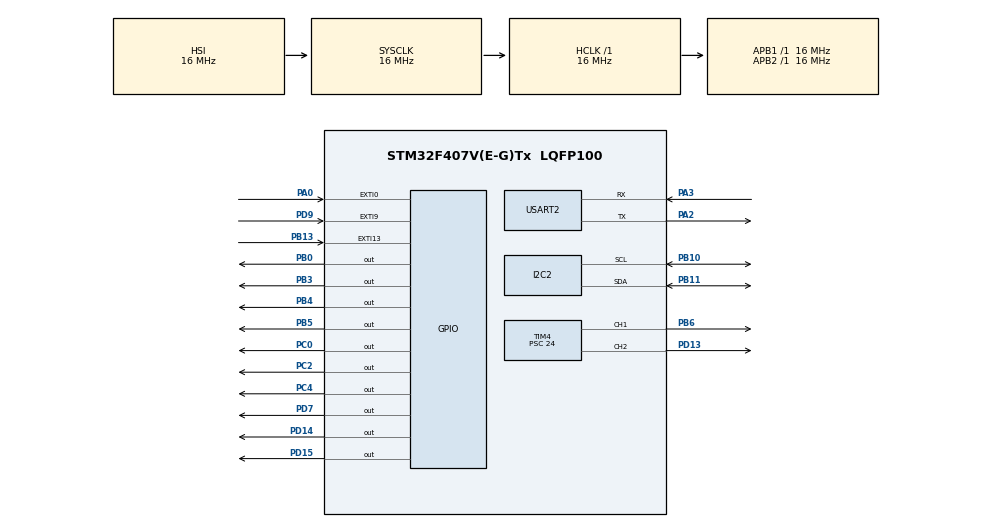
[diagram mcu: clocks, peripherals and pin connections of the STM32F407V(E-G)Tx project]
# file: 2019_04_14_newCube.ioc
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Mcu.Family=STM32F4
Mcu.Name=STM32F407V(E-G)Tx
Mcu.Package=LQFP100
NVIC.EXTI0_IRQn=true\:0\:0\:false\:false\:true\:true
NVIC.EXTI15_10_IRQn=true\:0\:0\:false\:false\:true\:true
NVIC.EXTI9_5_IRQn=true\:0\:0\:false\:false\:true\:true
NVIC.I2C2_ER_IRQn=true\:0\:0\:false\:false\:true\:true
NVIC.I2C2_EV_IRQn=true\:0\:0\:false\:false\:true\:true
NVIC.PriorityGroup=NVIC_PRIORITYGROUP_4
NVIC.TIM3_IRQn=true\:0\:0\:false\:false\:true\:true
NVIC.TIM4_IRQn=true\:0\:0\:false\:false\:true\:true
NVIC.USART2_IRQn=true\:0\:0\:false\:false\:true\:true
PA0-WKUP.Signal=GPXTI0
PA2.Mode=Asynchronous
PA2.Signal=USART2_TX
PA3.Mode=Asynchronous
PA3.Signal=USART2_RX
PB0.Signal=GPIO_Output
PB10.Mode=I2C
PB10.Signal=I2C2_SCL
PB11.Mode=I2C
PB11.Signal=I2C2_SDA
PB13.GPIO_ModeDefaultEXTI=GPIO_MODE_IT_RISING
PB13.GPIO_PuPd=GPIO_PULLDOWN
PB13.Signal=GPXTI13
PB3.Signal=GPIO_Output
PB4.Signal=GPIO_Output
PB5.Signal=GPIO_Output
PB6.Signal=S_TIM4_CH1
PC0.Signal=GPIO_Output
PC2.Signal=GPIO_Output
PC4.Signal=GPIO_Output
PD13.Signal=S_TIM4_CH2
PD14.Signal=GPIO_Output
PD15.GPIO_PuPd=GPIO_PULLDOWN
PD15.Signal=GPIO_Output
PD7.Signal=GPIO_Output
PD9.GPIO_ModeDefaultEXTI=GPIO_MODE_IT_RISING
PD9.GPIO_PuPd=GPIO_PULLDOWN
PD9.Signal=GPXTI9
ProjectManager.HeapSize=0x200
ProjectManager.StackSize=0x400
ProjectManager.TargetToolchain=TrueSTUDIO
RCC.48MHZClocksFreq_Value=48000000
RCC.AHBFreq_Value=16000000
RCC.APB1Freq_Value=16000000
RCC.APB1TimFreq_Value=16000000
RCC.APB2Freq_Value=16000000
RCC.APB2TimFreq_Value=16000000
RCC.CortexFreq_Value=16000000
RCC.HCLKFreq_Value=16000000
RCC.HSE_VALUE=25000000
RCC.HSI_VALUE=16000000
RCC.LSE_VALUE=32768
RCC.SYSCLKFreq_VALUE=16000000
RCC.VCOOutputFreq_Value=192000000
SH.S_TIM4_CH1.0=TIM4_CH1,PWM Generation1 CH1
SH.S_TIM4_CH2.0=TIM4_CH2,Output Compare2 CH2
TIM3.Channel-Output\ Compare1\ No\ Output=TIM_CHANNEL_1
TIM3.Period=1000
TIM3.Prescaler=16000
TIM4.Channel-Output\ Compare2\ CH2=TIM_CHANNEL_2
TIM4.Channel-PWM\ Generation1\ CH1=TIM_CHANNEL_1
TIM4.Period=200
TIM4.Prescaler=24
TIM4.Pulse-PWM\ Generation1\ CH1=0
TIM4.TIM_MasterOutputTrigger=TIM_TRGO_RESET
USART2.VirtualMode=VM_ASYNC
VP_TIM3_VS_ClockSourceINT.Mode=Internal
VP_TIM3_VS_no_output1.Mode=Output Compare1 No Output
VP_TIM4_VS_ClockSourceINT.Mode=Internal
board=custom

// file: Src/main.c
/* USER CODE BEGIN Header */
/**
 ******************************************************************************
 * @file           : main.c
 * @brief          : Main program body
 ******************************************************************************
 ** This notice applies to any and all portions of this file
 * that are not between comment pairs USER CODE BEGIN and
 * USER CODE END. Other portions of this file, whether
 * inserted by the user or by software development tools
 * are owned by their respective copyright owners.
 *
 * COPYRIGHT(c) 2019 STMicroelectronics
 *
 * Redistribution and use in source and binary forms, with or without modification,
 * are permitted provided that the following conditions are met:
 *   1. Redistributions of source code must retain the above copyright notice,
 *      this list of conditions and the following disclaimer.
 *   2. Redistributions in binary form must reproduce the above copyright notice,
 *      this list of conditions and the following disclaimer in the documentation
 *      and/or other materials provided with the distribution.
 *   3. Neither the name of STMicroelectronics nor the names of its contributors
 *      may be used to endorse or promote products derived from this software
 *      without specific prior written permission.
 *
 * THIS SOFTWARE IS PROVIDED BY THE COPYRIGHT HOLDERS AND CONTRIBUTORS "AS IS"
 * AND ANY EXPRESS OR IMPLIED WARRANTIES, INCLUDING, BUT NOT LIMITED TO, THE
 * IMPLIED WARRANTIES OF MERCHANTABILITY AND FITNESS FOR A PARTICULAR PURPOSE ARE
 * DISCLAIMED. IN NO EVENT SHALL THE COPYRIGHT HOLDER OR CONTRIBUTORS BE LIABLE
 * FOR ANY DIRECT, INDIRECT, INCIDENTAL, SPECIAL, EXEMPLARY, OR CONSEQUENTIAL
 * DAMAGES (INCLUDING, BUT NOT LIMITED TO, PROCUREMENT OF SUBSTITUTE GOODS OR
 * SERVICES; LOSS OF USE, DATA, OR PROFITS; OR BUSINESS INTERRUPTION) HOWEVER
 * CAUSED AND ON ANY THEORY OF LIABILITY, WHETHER IN CONTRACT, STRICT LIABILITY,
 * OR TORT (INCLUDING NEGLIGENCE OR OTHERWISE) ARISING IN ANY WAY OUT OF THE USE
 * OF THIS SOFTWARE, EVEN IF ADVISED OF THE POSSIBILITY OF SUCH DAMAGE.
 *
 ******************************************************************************
 */
/* USER CODE END Header */

#include "main.h"

/* USER CODE BEGIN Includes */
#include <math.h>
#include <stdlib.h>
#include <string.h>

/* USER CODE END Includes */

I2C_HandleTypeDef hi2c2;

TIM_HandleTypeDef htim3;
TIM_HandleTypeDef htim4;

UART_HandleTypeDef huart2;

/* USER CODE BEGIN PV */
#define FALSE 0
#define TRUE 1

/* USER CODE END PV */

void SystemClock_Config(void);
static void MX_GPIO_Init(void);
static void MX_TIM4_Init(void);
static void MX_TIM3_Init(void);
static void MX_USART2_UART_Init(void);
static void MX_I2C2_Init(void);
/* USER CODE BEGIN PFP */
void triangle_wave(int freq, int min, int max);
void sin_wave(int A, float F);
void const_vel(int A, int F);
void HAL_UART_RxCpltCallback(UART_HandleTypeDef *huart);

/* USER CODE END PFP */

/* USER CODE BEGIN 0 */
double const clock = 16000000;
double const htim3_Prescaler = 1600;
int const htim3_Period = 9;
double const htim4_Prescaler = 1;
int const htim4_Period = 200;
int const pulsosporRevolucion = 5000;
int const mmporRevolucion = 10;

int estado = 0;
int posActual = 0;
int posMax = 0;
int posHome = 0;
int posCentral = 0;
int maxIndex = 0;
float velHoming = 100;

volatile int velocidades[10000];
volatile int velocidadesPulsos[10000];
//volatile int posiciones[1000];
//volatile int posicionesPulsos[1000];
//volatile int posicionesActPulsos[15000];
volatile int periodos[10000];
// variables para comunicacion UART2
uint8_t rx_index_UART2;
_Bool OK_UART2;

uint8_t rx_data_UART[13];
uint8_t rx_buffer_UART2[50];
char bufferTX_UART2[20];
uint8_t bufferRX_UART2[50];
/* USER CODE END 0 */

int main(void) {
	/* USER CODE BEGIN 1 */
	OK_UART2 = FALSE;

	rx_index_UART2 = 0;
	/* USER CODE END 1 */

	/* MCU Configuration--------------------------------------------------------*/

	/* Reset of all peripherals, Initializes the Flash interface and the Systick. */
	HAL_Init();

	/* Configure the system clock */
	SystemClock_Config();

	/* Initialize all configured peripherals */
	MX_GPIO_Init();
	MX_TIM4_Init();
	MX_TIM3_Init();
	MX_USART2_UART_Init();
	MX_I2C2_Init();
	/* USER CODE BEGIN 2 */
	HAL_TIM_Base_Start_IT(&htim3);
	HAL_TIM_PWM_Start_IT(&htim4, TIM_CHANNEL_1);

	char buffer[16];
	char txbuffer[10];
	HAL_UART_Transmit(&huart2, "OK ", 3, 200);
	char in[1] = { 'N' };
	int counter = 0;
	int position = 0;
	int maxposition;
	HAL_GPIO_WritePin(GPIOB, GPIO_PIN_0, GPIO_PIN_SET);
	HAL_GPIO_WritePin(GPIOC, GPIO_PIN_4, GPIO_PIN_SET);
	TIM4->ARR = 200;       //desborde de tiempo de pwm en timer 4.
	__HAL_TIM_SetCompare(&htim4,TIM_CHANNEL_1,100); //match de comparación en timer 4, siempre tiene que ser la mitad de ARR.
	HAL_UART_Receive_IT(&huart2, rx_data_UART, 13); // leer 1 byte

	// estado=2; //forzado
	/* USER CODE END 2 */

	/* Infinite loop */
	/* USER CODE BEGIN WHILE */
	while (1) {
		HAL_UART_Receive_IT(&huart2, rx_data_UART, 13);
		//estado=2; para debug comunicación-desarrollo. Saltea homming y fines de carrera.

		if ((estado == 3 || estado == 4 || estado == 5)
				&& ((HAL_GPIO_ReadPin(GPIOD, GPIO_PIN_9) == GPIO_PIN_SET)
						|| (HAL_GPIO_ReadPin(GPIOB, GPIO_PIN_13) == GPIO_PIN_SET))) {
			estado = 0;
			HAL_TIM_PWM_Stop_IT(&htim4, TIM_CHANNEL_1);
		}

		/* USER CODE END WHILE */

	}
}

void SystemClock_Config(void) {
	RCC_OscInitTypeDef RCC_OscInitStruct = { 0 };
	RCC_ClkInitTypeDef RCC_ClkInitStruct = { 0 };

	/**Configure the main internal regulator output voltage
	 */
	__HAL_RCC_PWR_CLK_ENABLE()
	;
	__HAL_PWR_VOLTAGESCALING_CONFIG(PWR_REGULATOR_VOLTAGE_SCALE1);
	/**Initializes the CPU, AHB and APB busses clocks
	 */
	RCC_OscInitStruct.OscillatorType = RCC_OSCILLATORTYPE_HSI;
	RCC_OscInitStruct.HSIState = RCC_HSI_ON;
	RCC_OscInitStruct.HSICalibrationValue = RCC_HSICALIBRATION_DEFAULT;
	RCC_OscInitStruct.PLL.PLLState = RCC_PLL_NONE;
	if (HAL_RCC_OscConfig(&RCC_OscInitStruct) != HAL_OK) {
		Error_Handler();
	}
	/**Initializes the CPU, AHB and APB busses clocks
	 */
	RCC_ClkInitStruct.ClockType = RCC_CLOCKTYPE_HCLK | RCC_CLOCKTYPE_SYSCLK
			| RCC_CLOCKTYPE_PCLK1 | RCC_CLOCKTYPE_PCLK2;
	RCC_ClkInitStruct.SYSCLKSource = RCC_SYSCLKSOURCE_HSI;
	RCC_ClkInitStruct.AHBCLKDivider = RCC_SYSCLK_DIV1;
	RCC_ClkInitStruct.APB1CLKDivider = RCC_HCLK_DIV1;
	RCC_ClkInitStruct.APB2CLKDivider = RCC_HCLK_DIV1;

	if (HAL_RCC_ClockConfig(&RCC_ClkInitStruct, FLASH_LATENCY_0) != HAL_OK) {
		Error_Handler();
	}
}

static void MX_I2C2_Init(void) {

	hi2c2.Instance = I2C2;
	hi2c2.Init.ClockSpeed = 100000;
	hi2c2.Init.DutyCycle = I2C_DUTYCYCLE_2;
	hi2c2.Init.OwnAddress1 = 0;
	hi2c2.Init.AddressingMode = I2C_ADDRESSINGMODE_7BIT;
	hi2c2.Init.DualAddressMode = I2C_DUALADDRESS_DISABLE;
	hi2c2.Init.OwnAddress2 = 0;
	hi2c2.Init.GeneralCallMode = I2C_GENERALCALL_DISABLE;
	hi2c2.Init.NoStretchMode = I2C_NOSTRETCH_DISABLE;
	if (HAL_I2C_Init(&hi2c2) != HAL_OK) {
		Error_Handler();
	}

}

static void MX_TIM3_Init(void) {

	TIM_ClockConfigTypeDef sClockSourceConfig = { 0 };
	TIM_MasterConfigTypeDef sMasterConfig = { 0 };
	TIM_OC_InitTypeDef sConfigOC = { 0 };

	htim3.Instance = TIM3;
	htim3.Init.Prescaler = htim3_Prescaler;
	htim3.Init.CounterMode = TIM_COUNTERMODE_UP;
	htim3.Init.Period = htim3_Period;
	htim3.Init.ClockDivision = TIM_CLOCKDIVISION_DIV1;
	if (HAL_TIM_Base_Init(&htim3) != HAL_OK) {
		Error_Handler();
	}
	sClockSourceConfig.ClockSource = TIM_CLOCKSOURCE_INTERNAL;
	if (HAL_TIM_ConfigClockSource(&htim3, &sClockSourceConfig) != HAL_OK) {
		Error_Handler();
	}
	if (HAL_TIM_OC_Init(&htim3) != HAL_OK) {
		Error_Handler();
	}
	sMasterConfig.MasterOutputTrigger = TIM_TRGO_RESET;
	sMasterConfig.MasterSlaveMode = TIM_MASTERSLAVEMODE_DISABLE;
	if (HAL_TIMEx_MasterConfigSynchronization(&htim3, &sMasterConfig)
			!= HAL_OK) {
		Error_Handler();
	}
	sConfigOC.OCMode = TIM_OCMODE_TIMING;
	sConfigOC.Pulse = 0;
	sConfigOC.OCPolarity = TIM_OCPOLARITY_HIGH;
	sConfigOC.OCFastMode = TIM_OCFAST_DISABLE;
	if (HAL_TIM_OC_ConfigChannel(&htim3, &sConfigOC, TIM_CHANNEL_1) != HAL_OK) {
		Error_Handler();
	}

}

static void MX_TIM4_Init(void) {

	TIM_ClockConfigTypeDef sClockSourceConfig = { 0 };
	TIM_MasterConfigTypeDef sMasterConfig = { 0 };
	TIM_OC_InitTypeDef sConfigOC = { 0 };

	htim4.Instance = TIM4;
	htim4.Init.Prescaler = htim4_Prescaler;
	htim4.Init.CounterMode = TIM_COUNTERMODE_UP;
	htim4.Init.Period = htim4_Period;
	htim4.Init.ClockDivision = TIM_CLOCKDIVISION_DIV1;
	if (HAL_TIM_Base_Init(&htim4) != HAL_OK) {
		Error_Handler();
	}
	sClockSourceConfig.ClockSource = TIM_CLOCKSOURCE_INTERNAL;
	if (HAL_TIM_ConfigClockSource(&htim4, &sClockSourceConfig) != HAL_OK) {
		Error_Handler();
	}
	if (HAL_TIM_PWM_Init(&htim4) != HAL_OK) {
		Error_Handler();
	}
	if (HAL_TIM_OC_Init(&htim4) != HAL_OK) {
		Error_Handler();
	}
	sMasterConfig.MasterOutputTrigger = TIM_TRGO_RESET;
	sMasterConfig.MasterSlaveMode = TIM_MASTERSLAVEMODE_DISABLE;
	if (HAL_TIMEx_MasterConfigSynchronization(&htim4, &sMasterConfig)
			!= HAL_OK) {
		Error_Handler();
	}
	sConfigOC.OCMode = TIM_OCMODE_PWM1;
	sConfigOC.Pulse = 0;
	sConfigOC.OCPolarity = TIM_OCPOLARITY_HIGH;
	sConfigOC.OCFastMode = TIM_OCFAST_DISABLE;
	if (HAL_TIM_PWM_ConfigChannel(&htim4, &sConfigOC, TIM_CHANNEL_1)
			!= HAL_OK) {
		Error_Handler();
	}
	sConfigOC.OCMode = TIM_OCMODE_TIMING;
	if (HAL_TIM_OC_ConfigChannel(&htim4, &sConfigOC, TIM_CHANNEL_2) != HAL_OK) {
		Error_Handler();
	}
	/* USER CODE BEGIN TIM4_Init 2 */
	TIM4->ARR = 10000;
	__HAL_TIM_SetCompare(&htim4,TIM_CHANNEL_1,5000);
	/* USER CODE END TIM4_Init 2 */
	HAL_TIM_MspPostInit(&htim4);

}

static void MX_USART2_UART_Init(void) {

	huart2.Instance = USART2;
	huart2.Init.BaudRate = 115200;
	huart2.Init.WordLength = UART_WORDLENGTH_8B;
	huart2.Init.StopBits = UART_STOPBITS_1;
	huart2.Init.Parity = UART_PARITY_NONE;
	huart2.Init.Mode = UART_MODE_TX_RX;
	huart2.Init.HwFlowCtl = UART_HWCONTROL_NONE;
	huart2.Init.OverSampling = UART_OVERSAMPLING_16;
	if (HAL_UART_Init(&huart2) != HAL_OK) {
		Error_Handler();
	}

}

static void MX_GPIO_Init(void) {
	GPIO_InitTypeDef GPIO_InitStruct = { 0 };

	/* GPIO Ports Clock Enable */
	__HAL_RCC_GPIOC_CLK_ENABLE()
	;
	__HAL_RCC_GPIOA_CLK_ENABLE()
	;
	__HAL_RCC_GPIOB_CLK_ENABLE()
	;
	__HAL_RCC_GPIOD_CLK_ENABLE()
	;

	/*Configure GPIO pin Output Level */
	HAL_GPIO_WritePin(GPIOC, GPIO_PIN_0 | GPIO_PIN_2 | GPIO_PIN_4,
			GPIO_PIN_RESET);

	/*Configure GPIO pin Output Level */
	HAL_GPIO_WritePin(GPIOB, GPIO_PIN_0 | GPIO_PIN_3 | GPIO_PIN_4 | GPIO_PIN_5,
			GPIO_PIN_RESET);

	/*Configure GPIO pin Output Level */
	HAL_GPIO_WritePin(GPIOD, GPIO_PIN_14 | GPIO_PIN_15 | GPIO_PIN_7,
			GPIO_PIN_RESET);

	/*Configure GPIO pins : PC0 PC2 PC4 */
	GPIO_InitStruct.Pin = GPIO_PIN_0 | GPIO_PIN_2 | GPIO_PIN_4;
	GPIO_InitStruct.Mode = GPIO_MODE_OUTPUT_PP;
	GPIO_InitStruct.Pull = GPIO_NOPULL;
	GPIO_InitStruct.Speed = GPIO_SPEED_FREQ_LOW;
	HAL_GPIO_Init(GPIOC, &GPIO_InitStruct);

	/*Configure GPIO pin : PA0 */
	GPIO_InitStruct.Pin = GPIO_PIN_0;
	GPIO_InitStruct.Mode = GPIO_MODE_IT_RISING;
	GPIO_InitStruct.Pull = GPIO_NOPULL;
	HAL_GPIO_Init(GPIOA, &GPIO_InitStruct);

	/*Configure GPIO pins : PB0 PB3 PB4 PB5 */
	GPIO_InitStruct.Pin = GPIO_PIN_0 | GPIO_PIN_3 | GPIO_PIN_4 | GPIO_PIN_5;
	GPIO_InitStruct.Mode = GPIO_MODE_OUTPUT_PP;
	GPIO_InitStruct.Pull = GPIO_NOPULL;
	GPIO_InitStruct.Speed = GPIO_SPEED_FREQ_LOW;
	HAL_GPIO_Init(GPIOB, &GPIO_InitStruct);

	/*Configure GPIO pin : PB13 */
	GPIO_InitStruct.Pin = GPIO_PIN_13;
	GPIO_InitStruct.Mode = GPIO_MODE_IT_RISING;
	GPIO_InitStruct.Pull = GPIO_PULLDOWN;
	HAL_GPIO_Init(GPIOB, &GPIO_InitStruct);

	/*Configure GPIO pin : PD9 */
	GPIO_InitStruct.Pin = GPIO_PIN_9;
	GPIO_InitStruct.Mode = GPIO_MODE_IT_RISING;
	GPIO_InitStruct.Pull = GPIO_PULLDOWN;
	HAL_GPIO_Init(GPIOD, &GPIO_InitStruct);

	/*Configure GPIO pins : PD14 PD7 */
	GPIO_InitStruct.Pin = GPIO_PIN_14 | GPIO_PIN_7;
	GPIO_InitStruct.Mode = GPIO_MODE_OUTPUT_PP;
	GPIO_InitStruct.Pull = GPIO_NOPULL;
	GPIO_InitStruct.Speed = GPIO_SPEED_FREQ_LOW;
	HAL_GPIO_Init(GPIOD, &GPIO_InitStruct);

	/*Configure GPIO pin : PD15 */
	GPIO_InitStruct.Pin = GPIO_PIN_15;
	GPIO_InitStruct.Mode = GPIO_MODE_OUTPUT_PP;
	GPIO_InitStruct.Pull = GPIO_PULLDOWN;
	GPIO_InitStruct.Speed = GPIO_SPEED_FREQ_LOW;
	HAL_GPIO_Init(GPIOD, &GPIO_InitStruct);

	/* EXTI interrupt init*/
	HAL_NVIC_SetPriority(EXTI0_IRQn, 0, 0);
	HAL_NVIC_EnableIRQ(EXTI0_IRQn);

	HAL_NVIC_SetPriority(EXTI9_5_IRQn, 0, 0);
	HAL_NVIC_EnableIRQ(EXTI9_5_IRQn);

	HAL_NVIC_SetPriority(EXTI15_10_IRQn, 0, 0);
	HAL_NVIC_EnableIRQ(EXTI15_10_IRQn);

}

/* USER CODE BEGIN 4 */
void triangle_wave(int freq, int min, int max) {
	/*

	 const int half_period = 5;
	 double    amplitude   = 0.75;

	 int i = 0;
	 while(1)
	 {+
	 if(!(i++ % half_period))
	 {
	 amplitude = -amplitude;
	 }

	 printf("%d\t, %12.7f\n", i, amplitude);
	 }
	 //y = abs((x++ % 6) - 3); to oscilate between 0 and 3, an period 6.
	 int period=100/freq;
	 float delta=((max-min)/period)*-1;
	 int sign=1;
	 char info[50];
	 sprintf(info, "Triangular, freq: %d, min: %d, max: %d \n",freq, min,max);
	 HAL_UART_Transmit(&huart2, (uint8_t*)info, strlen(info), 200);
	 velocidades[0]=min;

	 for (int i=1;i<10000;i++){
	 if ((i+4) % period ==0)
	 {
	 delta=-delta;
	 }
	 velocidades[i]= (abs(velocidades[i-1])+delta)*sign;
	 if (abs(velocidades[i])==max){
	 sign=-sign;
	 }
	 }
	 HAL_TIM_PWM_Start_IT(&htim4,TIM_CHANNEL_1);
	 estado=3;*/
}

void homing() {
	int velocidad = 0;
	int periodo = 0;
	int compareMatch = 0;
	velocidad = (int) (velHoming * pulsosporRevolucion / mmporRevolucion);
	periodo = (int) (1 / (velocidad * htim4_Prescaler / clock));
	TIM4->ARR = periodo;       //desborde de tiempo de pwm en timer 4.
	compareMatch = (int) (periodo / 2);
	__HAL_TIM_SetCompare(&htim4,TIM_CHANNEL_1,compareMatch); //match de comparación en timer 4, siempre tiene que ser la mitad de ARR.
	HAL_GPIO_WritePin(GPIOB, GPIO_PIN_0, GPIO_PIN_SET);
	HAL_GPIO_WritePin(GPIOC, GPIO_PIN_4, GPIO_PIN_SET);
	if (HAL_GPIO_ReadPin(GPIOD, GPIO_PIN_9) == GPIO_PIN_SET) {
		estado = 1;
		posActual = 0;
		HAL_TIM_PWM_Start_IT(&htim4, TIM_CHANNEL_1);
		HAL_GPIO_WritePin(GPIOC, GPIO_PIN_4, GPIO_PIN_RESET);
	}
	if (HAL_GPIO_ReadPin(GPIOB, GPIO_PIN_13) == GPIO_PIN_SET) {
		estado = 0;
		HAL_TIM_PWM_Start_IT(&htim4, TIM_CHANNEL_1);
		HAL_GPIO_WritePin(GPIOC, GPIO_PIN_4, GPIO_PIN_SET);
	}
	if (estado == 4) {
		HAL_TIM_PWM_Stop_IT(&htim4, TIM_CHANNEL_1);
		//HAL_TIM_Base_Stop_IT(&htim4);
		HAL_TIM_Base_Stop_IT(&htim3);
		if (posActual > posHome) {
			HAL_GPIO_WritePin(GPIOC, GPIO_PIN_4, GPIO_PIN_RESET);
		} else if (posActual < posHome) {
			HAL_GPIO_WritePin(GPIOC, GPIO_PIN_4, GPIO_PIN_SET);
		}
		HAL_TIM_PWM_Start_IT(&htim4, TIM_CHANNEL_1);
	}
}

void sin_wave(int A, float F) {
	HAL_TIM_PWM_Stop_IT(&htim4, TIM_CHANNEL_1);
	char info[20];
	int velocidad = 0;
	int periodo = 0;
	int compareMatch = 0;
	F=F/10.0;
	float floatmaxIndex=(1.0/(double)F)*1000.0;
	maxIndex=round(floatmaxIndex);
	double deltaT = (htim3_Prescaler * (htim3_Period + 1)) / clock; //porque tiene que cambiar al cuarto
	sprintf(info, "sin,Amplitud:%d ,Frecuencia: %d\n", A, F);
	HAL_UART_Transmit(&huart2, (uint8_t*) info, strlen(info), 200);
	for (int i = 0; i < maxIndex; i++) {
		velocidades[i] = (int) (A * 2 * M_PI * F
				* sin((2 * M_PI * F * i * deltaT)));
		velocidadesPulsos[i] = (int) (velocidades[i] * pulsosporRevolucion
				/ mmporRevolucion);

	}
	for (int i = 0; i < maxIndex; i++) {
		periodos[i] = (int) (1
				/ (velocidadesPulsos[i] * htim4_Prescaler / clock));
		if (abs(periodos[i]) > 65535 && periodos[i - 1] > 0) {
			periodos[i] = 65535;
		}
		if (abs(periodos[i]) > 65535 && periodos[i - 1] < 0) {
			periodos[i] = -65535;
		}

	}
	posHome = posCentral
			- (double) ((double) A / 2.0 * (double) pulsosporRevolucion
					/ (double) mmporRevolucion);
	velocidad = (int) (velHoming * pulsosporRevolucion / mmporRevolucion);
	periodo = (int) (1 / (velocidad * htim4_Prescaler / clock));
	TIM4->ARR = periodo;       //desborde de tiempo de pwm en timer 4.
	compareMatch = (int) (periodo / 2);
	__HAL_TIM_SetCompare(&htim4,TIM_CHANNEL_1,compareMatch); //match de comparación en timer 4, siempre tiene que ser la mitad de ARR.

	if (posActual > posHome) {
		HAL_GPIO_WritePin(GPIOC, GPIO_PIN_4, GPIO_PIN_RESET);
		estado = 4;
	} else if (posActual < posHome) {
		HAL_GPIO_WritePin(GPIOC, GPIO_PIN_4, GPIO_PIN_SET);
		estado = 4;
	} else if (posActual == posHome) {
		estado = 5;
	}

	HAL_TIM_PWM_Start_IT(&htim4, TIM_CHANNEL_1);
	HAL_TIM_Base_Start_IT(&htim3);
}

void const_vel(int A, int F) {
	char info[50];
	int moduloVelocidad = (int) (1
			/ ((A * F / 2 * pulsosporRevolucion / mmporRevolucion)
					* htim4_Prescaler / clock));
	//double period=10000/(100*freq);
	double deltaT = (htim3_Prescaler * (htim3_Period + 1)) / clock;
	int period = (1 / deltaT) / (F * 2);
	sprintf(info, "Constante,vel:%d ,periodo: %d\n", A, F);
	HAL_UART_Transmit(&huart2, (uint8_t*) info, strlen(info), 200);
	int sign = 1;
	for (int i = 0; i < 1000; i++) {
		if ((i % period) == 0) {
			sign = -sign;
		}
		periodos[i] = moduloVelocidad * sign;
	}
	estado = 3;
	HAL_TIM_PWM_Start_IT(&htim4, TIM_CHANNEL_1);
}

void HAL_UART_RxCpltCallback(UART_HandleTypeDef *huart) {
	int Frecuencia;
	int Amplitud;
	if (rx_data_UART[0] == ':') {
		if (rx_data_UART[1] == 't') { // En este switch solo observo el segundo byte
		} else if (rx_data_UART[1] == 's') {
			Amplitud = ((int) (rx_data_UART[2] - '0')) * 10000
					+ ((int) (rx_data_UART[3] - '0')) * 1000
					+ ((int) (rx_data_UART[4] - '0')) * 100
					+ ((int) (rx_data_UART[5] - '0')) * 10
					+ ((int) (rx_data_UART[6] - '0'));
			Frecuencia = ((int) (rx_data_UART[7] - '0')) * 100
					+ ((int) (rx_data_UART[8] - '0')) * 10
					+ ((int) (rx_data_UART[9] - '0'));
			sin_wave(Amplitud, Frecuencia);
		} else if (rx_data_UART[1] == 'c') {
			Amplitud = ((int) (rx_data_UART[2] - '0')) * 10000
					+ ((int) (rx_data_UART[3] - '0')) * 1000
					+ ((int) (rx_data_UART[4] - '0')) * 100
					+ ((int) (rx_data_UART[5] - '0')) * 10
					+ ((int) (rx_data_UART[6] - '0'));
			Frecuencia = ((int) (rx_data_UART[7] - '0')) * 100
					+ ((int) (rx_data_UART[8] - '0')) * 10
					+ ((int) (rx_data_UART[9] - '0'));
			char info[50];
			sprintf(info, "Constante,vel:%d ,freq: %d\n", Amplitud, Frecuencia);
			const_vel(Amplitud, Frecuencia);

			HAL_UART_Transmit(&huart2, (uint8_t*) info, strlen(info), 200);
		} else if (rx_data_UART[1] == 'h') {
			estado = 0;
			homing();
		} else if (rx_data_UART[1] == 'v') {
			HAL_UART_Transmit(&huart2, "Velocity: ", 10, 200);
			for (int i = 0; i < 100; i++) {
				char buffer[16];
				HAL_UART_Transmit(&huart2, "valor de i:", 11, 200);
				HAL_UART_Transmit(&huart2, (uint8_t*) buffer,
						sprintf(buffer, "%d", i), 200);
				HAL_UART_Transmit(&huart2, " , ", 3, 200);
				HAL_UART_Transmit(&huart2, (uint8_t*) buffer,
						sprintf(buffer, "%d", periodos[i]), 200);
				HAL_UART_Transmit(&huart2, " \n", 2, 200);

			}
		}
	}
}

_Bool FC_der() {
	return HAL_GPIO_ReadPin(GPIOD, GPIO_PIN_9);
}

_Bool FC_izq() {
	return HAL_GPIO_ReadPin(GPIOB, GPIO_PIN_13);
}

void SET_Dir_derPositivo() {
	HAL_GPIO_WritePin(GPIOB, GPIO_PIN_0, GPIO_PIN_SET);
}

void SET_Dir_izqNegativo() {
	HAL_GPIO_WritePin(GPIOB, GPIO_PIN_0, GPIO_PIN_SET);
}

_Bool leer_direccion() {
	//True derecha-negativo. False izquierda-positivo.
	return HAL_GPIO_ReadPin(GPIOB, GPIO_PIN_0);
}

/* USER CODE END 4 */

void Error_Handler(void) {
}

/************************ (C) COPYRIGHT STMicroelectronics *****END OF FILE****/
